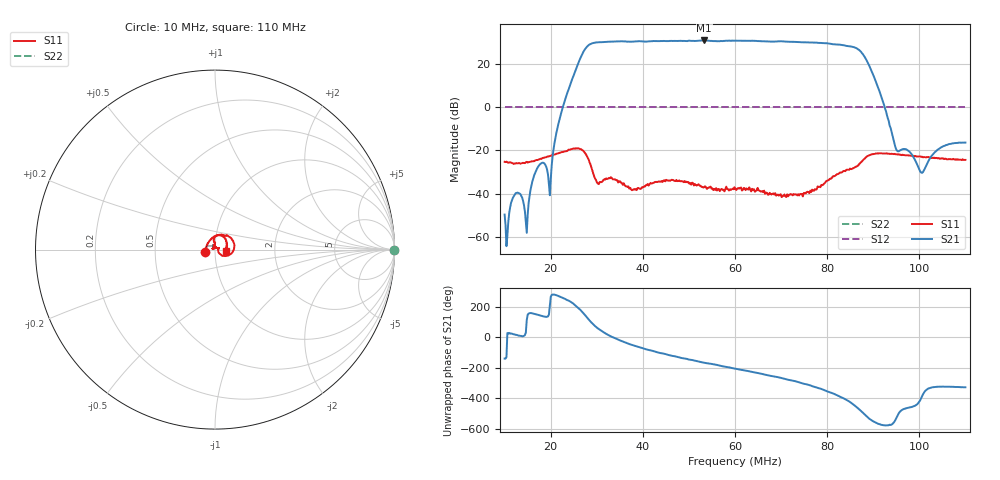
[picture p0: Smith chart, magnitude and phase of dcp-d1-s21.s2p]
! Anritsu VNA Master:  Model: MS2034B/10/19/501
! SN:  1337062
! /bd0/ovro-jan-2016/dcp-d1-s21.s2p
! Existing Calibration Information:
! TYPE:  Current Settings,  Active Cal Settings
! TIME:  01/08/2016 09:45:32 PM,  01/08/2016 08:43:08 PM
! INTERNAL TEMP:  42.8 C,  45.0 C
! # POINTS:  500,  500
! START FREQ:  10.000 MHz,  10.000 MHz
! STOP FREQ:  110.000 MHz,  110.000 MHz
! SOURCE POWER:  Low,  Low
! IFBW:  100 Hz,  100 Hz
! AVG FACTOR:  3 ,  3
! REF PLANE 1:  2.2245 m,  2.2245 m
! REF PLANE 2:  0 mm,  0 mm
! CAL TYPE:  1P2P S11,S21,  1P2P S11,S21
! CAL METHOD:  SOLT,  SOLT
! CAL LINE TYPE:  Coax,  Coax
! DUT PORT 1:  K-Conn(M),  K-Conn(M)
! DUT PORT 2:  N-Conn(M),  N-Conn(M)
! CAL STATUS:  OK: Accuracy High,  --
# GHZ S DB R 50.0
! FREQ.GHZ  S11DB  S11A  S21DB  S21A  S12DB  S12A  S22DB  S22A
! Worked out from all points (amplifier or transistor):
!   500 points, 10 MHz to 110 MHz, reference 50 ohm
!   highest |S21| = 30.7 dB at 53.29 MHz (marker M1)
!   |S21| within 3 dB of that: 27.83 MHz to 85.6 MHz (57.77 MHz wide, 102 % of centre)
!   unconditionally stable (mu >= 1): nowhere
!   at 26.63 MHz: K = 7.51, MSG = 11.7 dB, |S12| = 0.0 dB
!   at 60.1 MHz: K = 16.79, MSG = 15.3 dB, |S12| = 0.0 dB
!   at 110 MHz: K = 0.03, MSG = -8.2 dB, |S12| = 0.0 dB
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0.01  -25.18 -167.9  -49.50 -139.4  0.00 0.0  0.00 0.0
0.02342685  -20.29 53.8  5.36 -115.2  0.00 0.0  0.00 0.0
0.02563126  -19.08 23.7  18.29 -158.5  0.00 0.0  0.00 0.0
0.02683367  -19.79 -3.1  24.36 165.8  0.00 0.0  0.00 0.0
0.02783567  -22.52 -27.4  27.70 131.0  0.00 0.0  0.00 0.0
0.02943888  -31.93 -37.7  29.55 78.0  0.00 0.0  0.00 0.0
0.03124249  -34.20 17.7  29.88 37.4  0.00 0.0  0.00 0.0
0.03324649  -32.62 22.4  30.15 3.0  0.00 0.0  0.00 0.0
0.03825651  -37.98 59.4  30.22 -56.5  0.00 0.0  0.00 0.0
0.04346693  -34.20 92.5  30.37 -101.1  0.00 0.0  0.00 0.0
0.04827655  -34.16 100.0  30.49 -135.1  0.00 0.0  0.00 0.0
0.05328657  -36.94 116.1  30.67 -167.2  0.00 0.0  0.00 0.0
0.0601002  -37.86 150.8  30.53 154.5  0.00 0.0  0.00 0.0
0.06971944  -40.39 125.6  30.31 96.4  0.00 0.0  0.00 0.0
0.07312625  -40.20 90.6  30.00 72.4  0.00 0.0  0.00 0.0
0.07673347  -38.01 87.1  29.73 40.5  0.00 0.0  0.00 0.0
0.08174349  -31.66 92.7  28.85 -13.3  0.00 0.0  0.00 0.0
0.0855511  -28.24 90.7  27.69 -76.3  0.00 0.0  0.00 0.0
0.08795591  -24.04 95.6  23.72 -139.3  0.00 0.0  0.00 0.0
0.08975952  -21.74 78.3  16.05 174.9  0.00 0.0  0.00 0.0
0.09336673  -21.48 50.3  -6.42 145.3  0.00 0.0  0.00 0.0
0.11  -24.33 -6.3  -16.36 33.0  0.00 0.0  0.00 0.0
